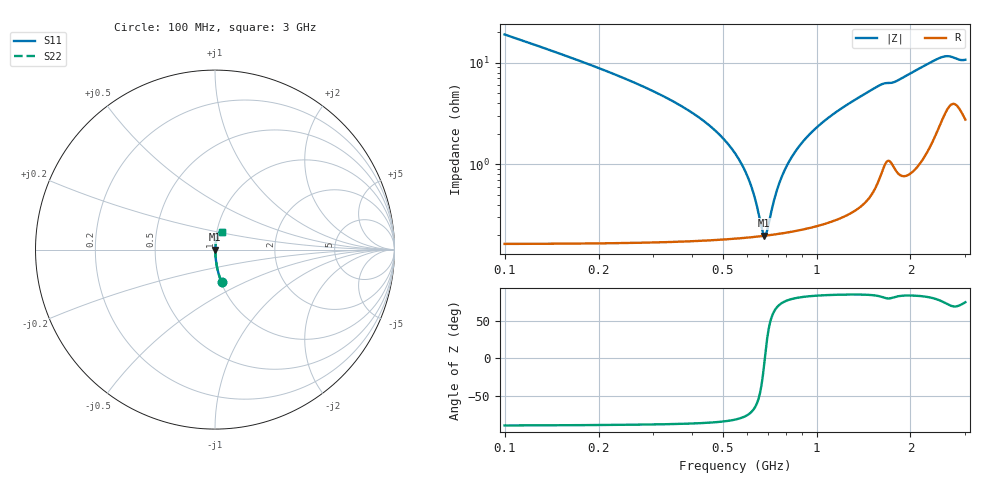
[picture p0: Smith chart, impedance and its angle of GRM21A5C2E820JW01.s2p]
!Murata Part Number: GRM21A5C2E820JW01
!These Parameters are Measured in Series Mode Connection
!Data Generated on Mar 30, 2021
!  o--ll--o
!Port1  Port2
!  o------o
!Operation Temp=25[degC], DC Bias Voltage=0[V]
!Freq. Start=100[MHz] Stop=3[GHz] 401[Steps]
# Hz S RI R 50
!Freq.(Hz) S11(Real) S11(Imag) S21(Real) S21(Imag) S12(Real) S12(Imag) S22(Real) S22(Imag)
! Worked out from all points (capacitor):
!   401 points, 100 MHz to 3 GHz, reference 50 ohm
!   read as one part in series: C = 82 pF near 114.5 MHz
!   lowest |Z| = 198 mohm at 680 MHz (marker M1)
!   series resonance near 682.6 MHz, so ESL is about 660 pH
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1e8  0.0363 -0.1828  0.9637 0.1828  0.9637 0.1828  0.0363 -0.1828
2.0875e8  0.00869 -0.0835  0.9913 0.0835  0.9913 0.0835  0.00869 -0.0835
4.8425e8  0.00219 -0.0199  0.9978 0.0199  0.9978 0.0199  0.00219 -0.0199
5.4225e8  0.00201 -0.0132  0.998 0.0132  0.998 0.0132  0.00201 -0.0132
5.8575e8  0.00195 -0.00877  0.998 0.00877  0.998 0.00877  0.00195 -0.00877
6.22e8  0.00194 -0.00532  0.9981 0.00532  0.9981 0.00532  0.00194 -0.00532
6.655e8  0.00195 -0.00145  0.998 0.00145  0.998 0.00145  0.00195 -0.00145
6.8e8  0.00197 -0.000215  0.998 0.000215  0.998 0.000215  0.00197 -0.000215
6.945e8  0.00198 0.000994  0.998 -0.000994  0.998 -0.000994  0.00198 0.000994
7.3075e8  0.00204 0.00392  0.998 -0.00392  0.998 -0.00392  0.00204 0.00392
7.5975e8  0.0021 0.00617  0.9979 -0.00617  0.9979 -0.00617  0.0021 0.00617
8.1775e8  0.00225 0.0105  0.9978 -0.0105  0.9978 -0.0105  0.00225 0.0105
8.6125e8  0.00238 0.0135  0.9976 -0.0135  0.9976 -0.0135  0.00238 0.0135
9.1925e8  0.0026 0.0175  0.9974 -0.0175  0.9974 -0.0175  0.0026 0.0175
1.0715e9  0.00334 0.0272  0.9967 -0.0272  0.9967 -0.0272  0.00334 0.0272
1.26725e9  0.00472 0.039  0.9953 -0.039  0.9953 -0.039  0.00472 0.039
1.55e9  0.00912 0.0561  0.9909 -0.0561  0.9909 -0.0561  0.00912 0.0561
1.637e9  0.0127 0.0602  0.9873 -0.0602  0.9873 -0.0602  0.0127 0.0602
1.77475e9  0.013 0.0625  0.987 -0.0625  0.987 -0.0625  0.013 0.0625
2.03575e9  0.0147 0.0788  0.9853 -0.0788  0.9853 -0.0788  0.0147 0.0788
2.5215e9  0.0373 0.1035  0.9627 -0.1035  0.9627 -0.1035  0.0373 0.1035
3e9  0.0365 0.0971  0.9635 -0.0971  0.9635 -0.0971  0.0365 0.0971
